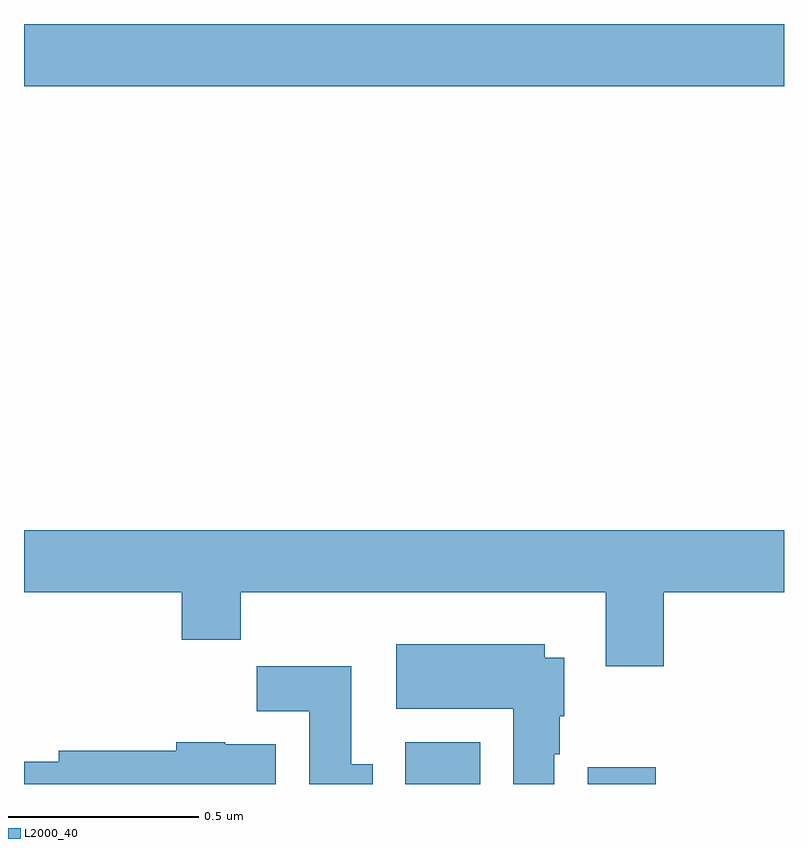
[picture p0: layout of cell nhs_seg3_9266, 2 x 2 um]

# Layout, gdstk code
import gdstk
lib = gdstk.Library(unit=1e-6, precision=1e-09)
def R(c, l, rs):  # rectangles x0, y0, x1, y1
    for r in rs: c.add(gdstk.rectangle(r[:2], r[2:], *l))
def P(c, l, *ps):  # polygons
    for p in ps: c.add(gdstk.Polygon(p, *l))
L2000_40 = (2000, 40)

nhs_seg3_9266 = lib.new_cell('nhs_seg3_9266')
R(nhs_seg3_9266, L2000_40, [(227.003,712.4,227.2,712.51), (227.483,712.4,227.662,712.444), (226,714.236,228,714.4)])
P(nhs_seg3_9266, L2000_40, [(227.684,712.904),(228,712.904),(228,713.068),(226,713.068),(226,712.904),(226.415,712.904),(226.415,712.78),(226.571,712.78),(226.571,712.904),(227.531,712.904),(227.531,712.71),(227.684,712.71)],
  [(227.395,712.478),(227.41,712.478),(227.41,712.578),(227.422,712.578),(227.422,712.732),(227.371,712.732),(227.371,712.768),(226.979,712.768),(226.979,712.598),(227.288,712.598),(227.288,712.4),(227.395,712.4)],
  [(226.918,712.452),(226.861,712.452),(226.861,712.71),(226.612,712.71),(226.612,712.592),(226.751,712.592),(226.751,712.4),(226.918,712.4)],
  [(226.663,712.504),(226.53,712.504),(226.53,712.51),(226.4,712.51),(226.4,712.488),(226.091,712.488),(226.091,712.458),(226,712.458),(226,712.4),(226.663,712.4)])

lib.write_gds('nhs_seg3_9266.gds')
